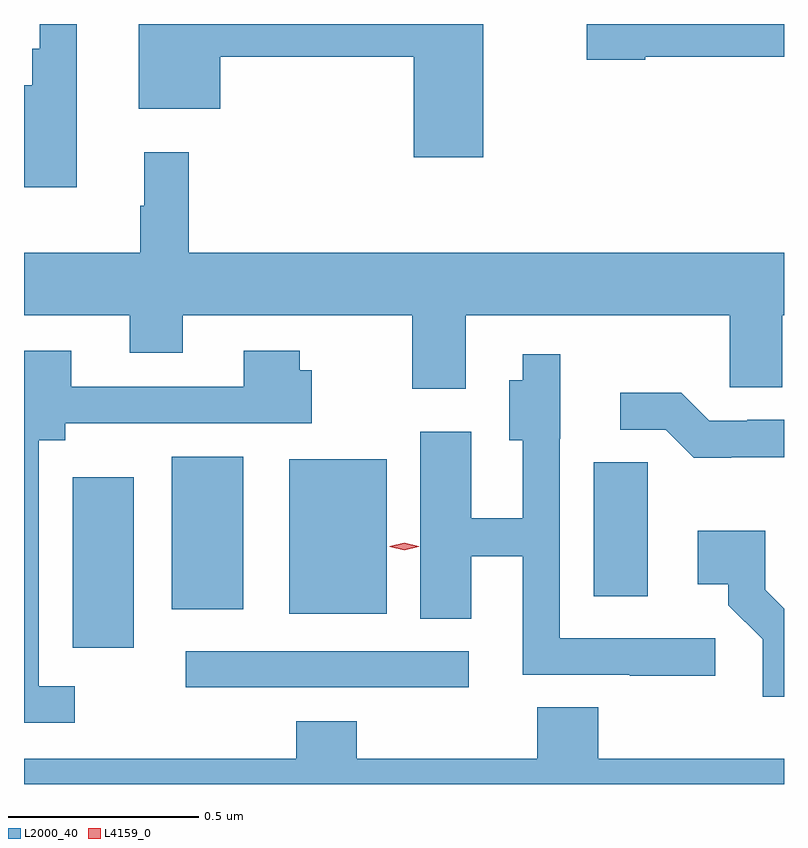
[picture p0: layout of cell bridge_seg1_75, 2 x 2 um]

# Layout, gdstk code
import gdstk
lib = gdstk.Library(unit=1e-6, precision=1e-09)
def R(c, l, rs):  # rectangles x0, y0, x1, y1
    for r in rs: c.add(gdstk.rectangle(r[:2], r[2:], *l))
def P(c, l, *ps):  # polygons
    for p in ps: c.add(gdstk.Polygon(p, *l))
L2000_40 = (2000, 40)
L4159_0 = (4159, 0)

bridge_seg1_75 = lib.new_cell('bridge_seg1_75')
R(bridge_seg1_75, L2000_40, [(561.447,521.448,562.192,521.544), (561.149,521.553,561.31,522.001), (561.719,521.642,561.976,522.049), (561.41,521.654,561.598,522.055)])
P(bridge_seg1_75, L2000_40, [(562.656,523.108),(563.021,523.108),(563.021,523.194),(562.502,523.194),(562.502,523.1),(562.656,523.1)],
  [(561.16,523.194),(561.063,523.194),(561.063,523.129),(561.043,523.129),(561.043,523.033),(561.021,523.033),(561.021,522.764),(561.16,522.764)],
  [(562.229,523.194),(561.323,523.194),(561.323,522.971),(561.538,522.971),(561.538,523.108),(562.046,523.108),(562.046,522.843),(562.229,522.843)],
  [(562.183,522.428),(562.878,522.428),(562.878,522.238),(563.017,522.238),(563.017,522.428),(563.021,522.428),(563.021,522.592),(561.455,522.592),(561.455,522.856),(561.338,522.856),(561.338,522.716),(561.327,522.716),(561.327,522.592),(561.021,522.592),(561.021,522.428),(561.299,522.428),(561.299,522.329),(561.439,522.329),(561.439,522.428),(562.043,522.428),(562.043,522.234),(562.183,522.234)],
  [(561.154,521.451),(561.06,521.451),(561.06,522.098),(561.13,522.098),(561.13,522.144),(561.778,522.144),(561.778,522.283),(561.747,522.283),(561.747,522.334),(561.599,522.334),(561.599,522.24),(561.145,522.24),(561.145,522.334),(561.021,522.334),(561.021,521.355),(561.154,521.355)],
  [(562.84,521.577),(562.431,521.577),(562.431,522.102),(562.432,522.102),(562.432,522.325),(562.334,522.325),(562.334,522.256),(562.298,522.256),(562.298,522.098),(562.334,522.098),(562.334,521.894),(562.198,521.894),(562.198,522.121),(562.064,522.121),(562.064,521.629),(562.198,521.629),(562.198,521.794),(562.334,521.794),(562.334,521.481),(562.615,521.481),(562.615,521.479),(562.84,521.479)],
  [(562.882,522.054),(563.021,522.054),(563.021,522.153),(562.924,522.153),(562.924,522.15),(562.824,522.15),(562.751,522.223),(562.59,522.223),(562.59,522.126),(562.71,522.126),(562.783,522.053),(562.882,522.053)],
  [(562.663,521.93),(562.662,521.93),(562.662,522.041),(562.52,522.041),(562.52,521.688),(562.663,521.688)],
  [(563.021,521.655),(562.971,521.705),(562.971,521.86),(562.794,521.86),(562.794,521.72),(562.874,521.72),(562.874,521.665),(562.965,521.575),(562.965,521.424),(563.021,521.424)],
  [(563.021,521.26),(562.532,521.26),(562.532,521.396),(562.372,521.396),(562.372,521.26),(561.897,521.26),(561.897,521.359),(561.737,521.359),(561.737,521.26),(561.021,521.26),(561.021,521.194),(563.021,521.194)])
P(bridge_seg1_75, L4159_0, [(562.022,521.809),(561.984,521.819),(561.983,521.819),(561.984,521.82),(562.022,521.829),(562.06,521.82),(562.06,521.819),(562.06,521.819)])

lib.write_gds('bridge_seg1_75.gds')
